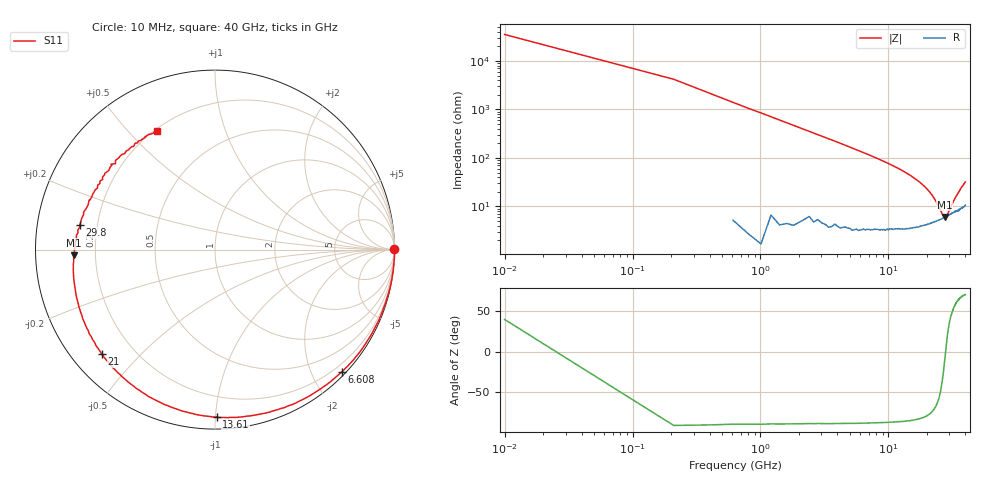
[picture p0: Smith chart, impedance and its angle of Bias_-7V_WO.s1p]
!Agilent Technologies,N5227A,US51270434,A.10.00.00
!Agilent N5227A: A.10.00.00
!Date: Monday, March 30, 2026 11:22:16
!Correction: S11(Full 1 Port(1))
!S1P File: Measurement: S11:
# Hz S  dB  R 50
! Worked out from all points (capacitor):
!   201 points, 10 MHz to 40 GHz, reference 50 ohm
!   read as one part to ground: C = 185 fF near 209.9 MHz
!   lowest |Z| = 6.04 ohm at 27.6 GHz (marker M1)
!   series resonance near 28.03 GHz, so ESL is about 170 pH
!   S11 on the Smith chart (normalised r, x): 10 MHz: open; 6.608 GHz: 0.06, -2.48; 13.61 GHz: 0.07, -1.01; 21 GHz: 0.09, -0.39; 29.8 GHz: 0.13, +0.09; 40 GHz: 0.21, +0.60
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1e7  -0.02 0.1
1.00975e9  -0.00 -6.8
2.60935e9  -0.04 -17.4
5.00875e9  -0.10 -33.3
6.60835e9  -0.16 -43.8
8.60785e9  -0.26 -57.1
1.00075e10  -0.34 -66.2
1.180705e10  -0.47 -77.9
1.36066e10  -0.60 -89.5
1.500625e10  -0.72 -98.9
1.740565e10  -0.93 -114.4
2.0005e10  -1.21 -131.0
2.100475e10  -1.33 -137.3
2.300425e10  -1.57 -149.9
2.500375e10  -1.79 -162.0
2.76031e10  -2.08 -177.6
2.980255e10  -2.32 169.6
3.00025e10  -2.35 168.5
3.180205e10  -2.46 158.5
3.2002e10  -2.51 158.4
3.500125e10  -2.57 141.8
3.540115e10  -2.50 140.7
3.56011e10  -2.70 139.2
3.6001e10  -2.61 136.2
3.780055e10  -2.60 126.9
3.900025e10  -2.62 121.8
3.92002e10  -2.61 119.5
4e10  -2.69 116.0
